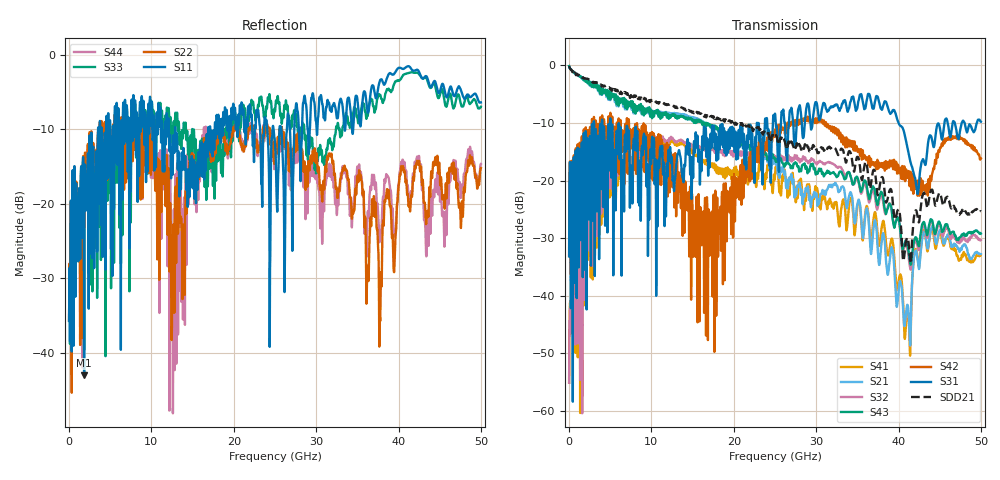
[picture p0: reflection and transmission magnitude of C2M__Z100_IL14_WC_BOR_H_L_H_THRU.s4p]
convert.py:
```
import skrf as rf
import numpy as np

# Input and output files
input_file = 'C2M__Z100_IL14_WC_BOR_H_L_H_THRU.s4p'
output_file = 'channel.s4p'

# Desired reference impedance
new_z0 = 40  # Ohms

# Load the 4-port S4P
ntwk = rf.Network(input_file)

# Original impedance (assume uniform)
z0_old = ntwk.z0  # could be scalar or array of length 4
if np.isscalar(z0_old):
    z0_old = np.array([z0_old]*ntwk.number_of_ports)

# Make new z0 array
if np.isscalar(new_z0):
    z0_new = np.array([new_z0]*ntwk.number_of_ports)
else:
    z0_new = np.array(new_z0)

# Renormalize network
ntwk.renormalize(z0_new)

# Save new S4P
ntwk.write_touchstone(output_file)

print(f"Renormalized S4P saved as {output_file} with Z0 = {new_z0} Ω")
```
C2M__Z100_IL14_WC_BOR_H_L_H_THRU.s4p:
# GHz S MA R 50
! S-Parameters data
! Freq  magS11  angS11  magS12  angS12  magS13  angS13  magS14  angS14
!  magS21  angS21  magS22  angS22  magS23  angS23  magS24  angS24
!  magS31  angS31  magS32  angS32  magS33  angS33  magS34  angS34
!  magS41  angS41  magS42  angS42  magS43  angS43  magS44  angS44
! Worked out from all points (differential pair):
!   5000 points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, 10 MHz to 50 GHz, reference 50 ohm
!   strongest paths, dB at 10 MHz, 12.51 GHz, 25.01 GHz, 37.51 GHz, 50 GHz:
!     S31: -33.1, -17.1, -8.4, -5.6, -9.8
!     S42: -33.1, -16.5, -11.6, -17.6, -16.1
!     S43: -0.1, -8.7, -16.3, -23.9, -29.2
!     S32: -55.1, -12.6, -16.1, -24.4, -30.3
!     S21: -0.1, -8.4, -16.6, -32.7, -32.8
!     S41: -55.1, -12.9, -19.0, -30.3, -32.9
!   taken as a pair (ports 3,1 in; 4,2 out), SDD21 dB: -0.1, -6.9, -11.8, -22.5, -25.4
!   lowest |S11| = -43.0 dB at 1.83 GHz (marker M1), VSWR 1.01, Z = 50.4 - j0.585 ohm
!   |S11| at or under -10 dB: start of sweep to 3.523 GHz; 12.12 GHz to 12.86 GHz (734.9 MHz wide, 5.88 % of centre); 12.91 GHz to 16.89 GHz (3.985 GHz wide, 26.7 % of centre)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
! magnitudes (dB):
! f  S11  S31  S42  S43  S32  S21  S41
! 10 MHz  -35.7  -33.1  -33.1  -0.1  -55.1  -0.1  -55.1
! 1.83 GHz  -43.0  -12.9  -12.1  -2.4  -37.3  -2.4  -37.7
! 50 GHz  -6.4  -9.8  -16.1  -29.2  -30.3  -32.8  -32.9
